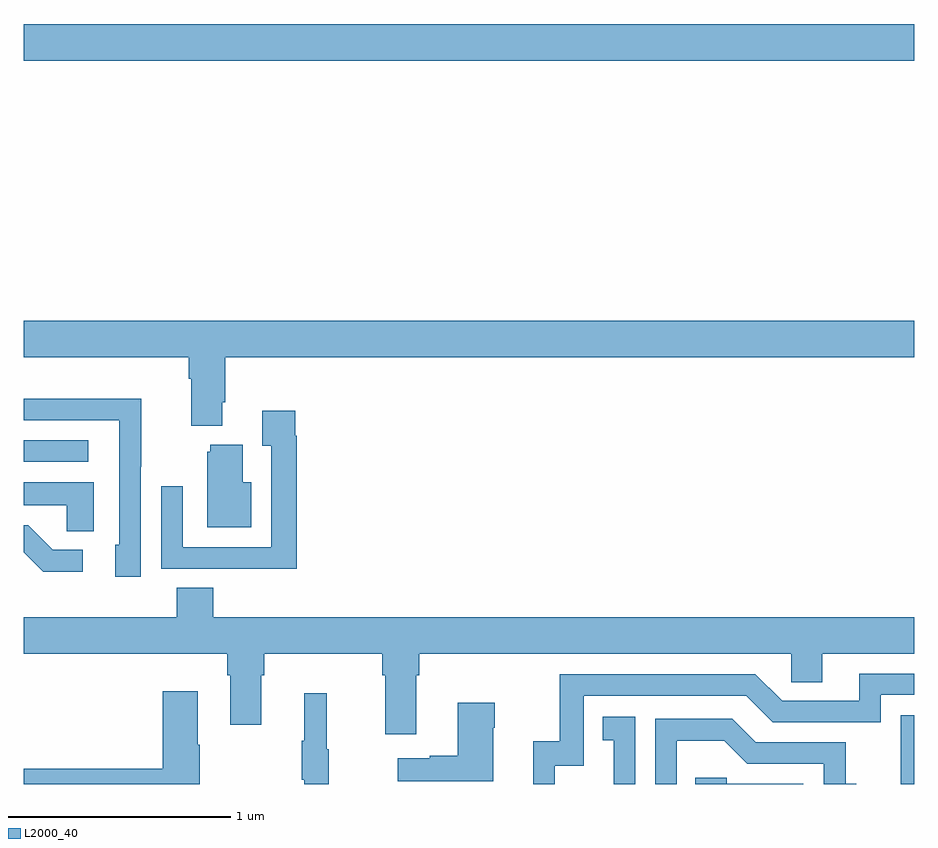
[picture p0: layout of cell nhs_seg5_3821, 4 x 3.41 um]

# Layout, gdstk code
import gdstk
lib = gdstk.Library(unit=1e-6, precision=1e-09)
def R(c, l, rs):  # rectangles x0, y0, x1, y1
    for r in rs: c.add(gdstk.rectangle(r[:2], r[2:], *l))
def P(c, l, *ps):  # polygons
    for p in ps: c.add(gdstk.Polygon(p, *l))
L2000_40 = (2000, 40)

nhs_seg5_3821 = lib.new_cell('nhs_seg5_3821')
R(nhs_seg5_3821, L2000_40, [(335,900.246,335.29,900.342), (335,902.048,339,902.212)])
P(nhs_seg5_3821, L2000_40, [(335.893,900.514),(335.906,900.514),(335.906,900.716),(339,900.716),(339,900.88),(335,900.88),(335,900.716),(335.741,900.716),(335.741,900.62),(335.753,900.62),(335.753,900.407),(335.893,900.407)],
  [(335.526,900.223),(335.529,900.223),(335.529,900.53),(335.065,900.53),(335.065,900.528),(335,900.528),(335,900.432),(335.43,900.432),(335.43,899.874),(335.411,899.874),(335.411,899.73),(335.526,899.73)],
  [(336.227,900.362),(336.22,900.362),(336.22,900.475),(336.071,900.475),(336.071,900.319),(336.111,900.319),(336.111,899.862),(335.715,899.862),(335.715,900.136),(335.619,900.136),(335.619,899.766),(335.935,899.766),(335.935,899.765),(336.227,899.765)],
  [(336.022,900.154),(335.983,900.154),(335.983,900.322),(335.837,900.322),(335.837,900.291),(335.825,900.291),(335.825,899.951),(336.022,899.951)],
  [(335.314,900.154),(335,900.154),(335,900.05),(335.193,900.05),(335.193,899.935),(335.314,899.935)],
  [(335.266,899.85),(335.131,899.85),(335.02,899.961),(335,899.961),(335,899.839),(335.087,899.753),(335.266,899.753)],
  [(336.763,899.288),(336.776,899.288),(336.776,899.384),(338.448,899.384),(338.448,899.257),(338.587,899.257),(338.587,899.384),(339,899.384),(339,899.548),(335.852,899.548),(335.852,899.681),(335.687,899.681),(335.687,899.548),(335,899.548),(335,899.384),(335.915,899.384),(335.915,899.288),(335.927,899.288),(335.927,899.064),(336.067,899.064),(336.067,899.288),(336.08,899.288),(336.08,899.384),(336.611,899.384),(336.611,899.288),(336.623,899.288),(336.623,899.022),(336.763,899.022)],
  [(337.386,898.881),(337.515,898.881),(337.515,899.196),(338.244,899.196),(338.364,899.076),(338.85,899.076),(338.85,899.199),(339,899.199),(339,899.295),(338.753,899.295),(338.753,899.172),(338.406,899.172),(338.286,899.292),(337.407,899.292),(337.407,898.99),(337.289,898.99),(337.289,898.799),(337.386,898.799)],
  [(335.79,898.976),(335.782,898.976),(335.782,899.215),(335.624,899.215),(335.624,898.868),(335,898.868),(335,898.799),(335.79,898.799)],
  [(336.37,898.956),(336.362,898.956),(336.362,899.206),(336.26,899.206),(336.26,898.993),(336.249,898.993),(336.249,898.819),(336.26,898.819),(336.26,898.799),(336.37,898.799)],
  [(337.108,899.051),(337.116,899.051),(337.116,899.164),(336.95,899.164),(336.95,898.925),(336.824,898.925),(336.824,898.915),(336.681,898.915),(336.681,898.811),(337.108,898.811)],
  [(339,899.107),(338.938,899.107),(338.938,898.901),(338.939,898.901),(338.939,898.799),(339,898.799)],
  [(337.746,899.101),(337.6,899.101),(337.6,898.995),(337.649,898.995),(337.649,898.799),(337.746,898.799)],
  [(337.932,898.994),(338.146,898.994),(338.25,898.89),(338.592,898.89),(338.592,898.799),(338.74,898.799),(338.74,898.801),(338.691,898.801),(338.691,898.986),(338.287,898.986),(338.182,899.091),(337.836,899.091),(337.836,898.799),(337.932,898.799)],
  [(338.502,898.8),(338.157,898.8),(338.157,898.827),(338.017,898.827),(338.017,898.799),(338.502,898.799)])

lib.write_gds('nhs_seg5_3821.gds')
